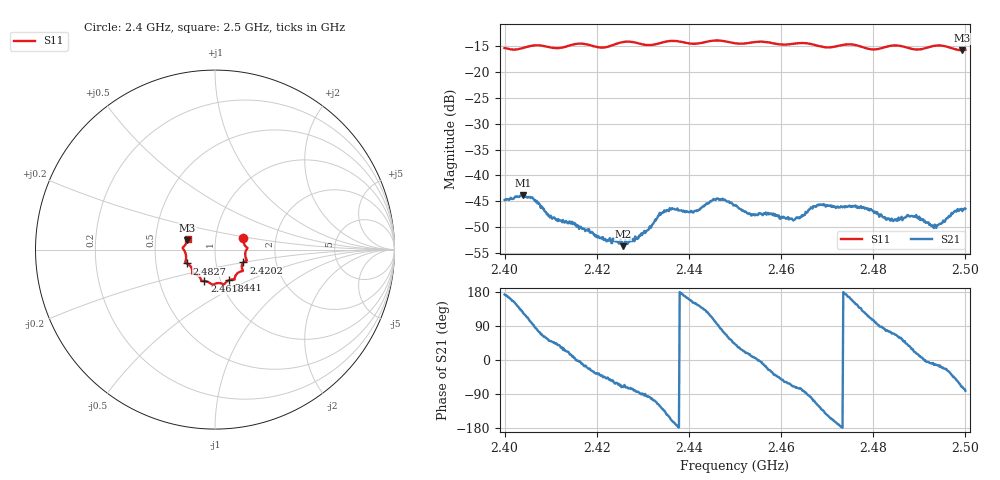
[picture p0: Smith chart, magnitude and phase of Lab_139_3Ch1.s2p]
# Hz S RI R 50
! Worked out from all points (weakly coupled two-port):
!   601 points, 2.4 GHz to 2.5 GHz, reference 50 ohm
!   highest |S21| = -43.74 dB at 2.404 GHz (marker M1); lowest = -53.7 dB at 2.4257 GHz (marker M2)
!   lowest |S11| = -15.8 dB at 2.4993 GHz (marker M3), VSWR 1.39, Z = 36.5 + j3.85 ohm
!   |S11| at or under -10 dB: start of sweep to end of sweep
!   S12 and S22 are empty: the file has one direction only
!   S11 on the Smith chart (normalised r, x): 2.4 GHz: 1.36, +0.18; 2.4202 GHz: 1.36, -0.20; 2.441 GHz: 1.10, -0.39; 2.4618 GHz: 0.84, -0.30; 2.4827 GHz: 0.72, -0.12; 2.5 GHz: 0.73, +0.09
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2.4e9  0.1584 0.0626  -0.00575 0.000738  0 0  0 0
2.404e9  0.1693 0.0193  -0.00366 0.00537  0 0  0 0
2.41e9  0.1721 -0.00605  0.00264 0.00312  0 0  0 0
2.416667e9  0.1775 -0.0609  0.00307 -0.000524  0 0  0 0
2.420167e9  0.1581 -0.0715  0.00207 -0.00144  0 0  0 0
2.425667e9  0.1556 -0.1163  0.000706 -0.00195  0 0  0 0
2.429e9  0.1455 -0.121  0.000269 -0.00245  0 0  0 0
2.433333e9  0.1116 -0.151  -0.00184 -0.00366  0 0  0 0
2.436333e9  0.109 -0.1671  -0.00456 -0.00163  0 0  0 0
2.441e9  0.0784 -0.1698  -0.00385 0.00212  0 0  0 0
2.445833e9  0.0503 -0.195  -0.000977 0.00573  0 0  0 0
2.45e9  0.0283 -0.1869  0.00389 0.00343  0 0  0 0
2.453333e9  -0.00314 -0.1914  0.00416 0.000933  0 0  0 0
2.461833e9  -0.0594 -0.1753  0.00178 -0.00342  0 0  0 0
2.466667e9  -0.0782 -0.1682  -0.00102 -0.00473  0 0  0 0
2.477667e9  -0.1269 -0.1185  -0.00311 0.00377  0 0  0 0
2.482667e9  -0.1561 -0.0772  0.000807 0.00372  0 0  0 0
2.483333e9  -0.1604 -0.0753  0.000994 0.00372  0 0  0 0
2.488833e9  -0.1608 -0.0391  0.00371 0.00155  0 0  0 0
2.4935e9  -0.1793 0.00705  0.00317 -0.000637  0 0  0 0
2.499333e9  -0.1539 0.0513  0.00149 -0.00427  0 0  0 0
2.5e9  -0.1522 0.0609  0.000749 -0.00472  0 0  0 0
